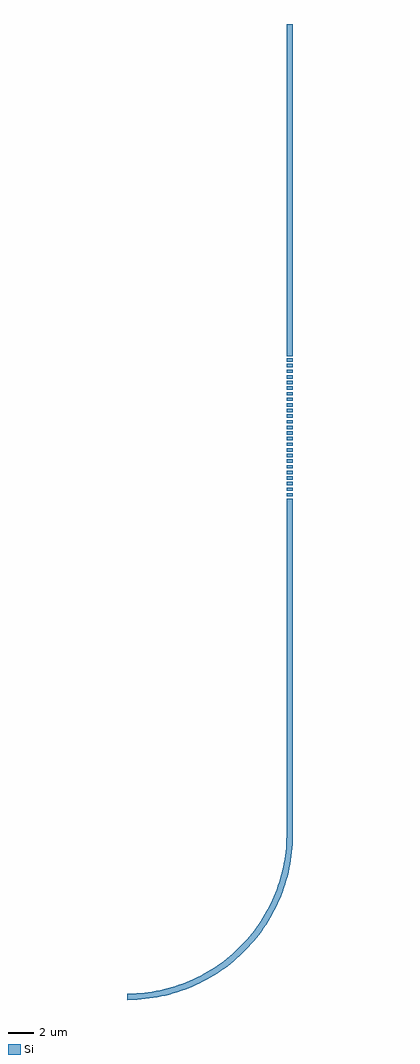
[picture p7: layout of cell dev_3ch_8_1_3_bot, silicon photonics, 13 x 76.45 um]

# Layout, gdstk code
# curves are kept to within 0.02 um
import gdstk
lib = gdstk.Library(unit=1e-6, precision=1e-09)
def R(c, l, rs):  # rectangles x0, y0, x1, y1
    for r in rs: c.add(gdstk.rectangle(r[:2], r[2:], *l))
def A(c, l, x, y, w, h, nx, ny, dx, dy):  # array of equal rectangles
    R(c, l, [(x+i*dx, y+j*dy, x+i*dx+w, y+j*dy+h) for i in range(nx) for j in range(ny)])
def P(c, l, *ps):  # polygons
    for p in ps: c.add(gdstk.Polygon(p, *l))
Si = (1, 0)

dev_3ch_8_1_3_bot = lib.new_cell('dev_3ch_8_1_3_bot')
A(dev_3ch_8_1_3_bot, Si, -0.25, 26, 0.5, 0.264, 1, 26, 0, 0.44)
R(dev_3ch_8_1_3_bot, Si, [(-0.25,0,0.25,26), (-0.25,37.44,0.25,63.45)])
P(dev_3ch_8_1_3_bot, Si, [(-12.75,-13),(-12.75,-12.5),(-11.372,-12.424),(-10.161,-12.229),(-8.975,-11.917),(-8.108,-11.607),(-7.544,-11.365),(-6.456,-10.8),(-5.678,-10.308),(-4.702,-9.565),(-4.02,-8.947),(-3.185,-8.048),(-2.619,-7.323),(-2.108,-6.558),(-1.516,-5.483),(-1.033,-4.355),(-0.744,-3.482),(-0.588,-2.888),(-0.408,-1.986),(-0.326,-1.378),(-0.25,0),(0.25,0),(0.202,-1.115),(0.031,-2.38),(-0.264,-3.621),(-0.679,-4.827),(-1.21,-5.987),(-1.853,-7.089),(-2.6,-8.123),(-3.445,-9.079),(-4.38,-9.947),(-5.395,-10.72),(-6.481,-11.389),(-7.628,-11.949),(-8.824,-12.393),(-10.057,-12.718),(-11.317,-12.921)])

lib.write_gds('dev_3ch_8_1_3_bot.gds')
